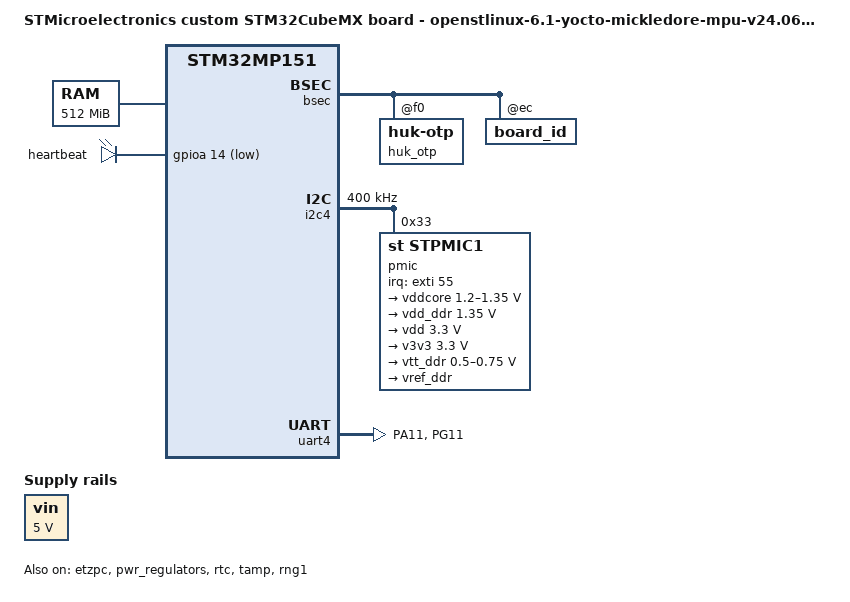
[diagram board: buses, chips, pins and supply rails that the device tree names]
// SPDX-License-Identifier: (GPL-2.0-or-later OR BSD-3-Clause)
/*
 * Copyright (C) 2024, STMicroelectronics - All Rights Reserved
 * Author: STM32CubeMX code generation for STMicroelectronics.
 */

/* For more information on Device Tree configuration, please refer to
 * https://wiki.st.com/stm32mpu/wiki/Category:Device_tree_configuration
 */

/dts-v1/;

#include <dt-bindings/pinctrl/stm32-pinfunc.h>
#include <dt-bindings/clock/stm32mp1-clksrc.h>
#include <dt-bindings/soc/stm32mp15-etzpc.h>
#include "stm32mp151.dtsi"
#include "stm32mp15xa.dtsi"
#include "stm32mp15xxac-pinctrl.dtsi"

/* USER CODE BEGIN includes */
/*#include <dt-bindings/mfd/st,stpmic1.h>
#include <dt-bindings/power/stm32mp1-power.h>*/
#include "stm32mp15-pinctrl.dtsi"
#include <dt-bindings/gpio/stm32mp_gpio.h>
#include <dt-bindings/power/stm32mp1-power.h>
#include <dt-bindings/mfd/st,stpmic1.h>
#include <dt-bindings/soc/stm32mp-provisioning.h>
#include <dt-bindings/tamper/st,stm32-tamp.h>
/* USER CODE END includes */

/*OPTEE*/

/ {
	model = "STMicroelectronics custom STM32CubeMX board - openstlinux-6.1-yocto-mickledore-mpu-v24.06.26";
	compatible = "st,stm32mp151a-ap31085500a-mx", "st,stm32mp151";

	memory@c0000000 {
		device_type = "memory";
		reg = <0xc0000000 0x20000000>;

		/* USER CODE BEGIN memory */
		/* USER CODE END memory */
	};
	
	ddr: memory-controller@5a003000 {
    	compatible = "st,stm32mp1-ddr";
    	reg = <0x5a003000 0x400>;
	};

	reserved-memory {
		#address-cells = <1>;
		#size-cells = <1>;
		ranges;
		
		

		/* USER CODE BEGIN reserved-memory */
		mcusram1:mcuram@10000000{
			compatible = "shared-dma-pool";
			reg = <0x10000000 0x20000>;
			no-map;
		};

		mcusram2:mcuram@10020000{
			compatible = "shared-dma-pool";
			reg = <0x10020000 0x20000>;
			no-map;
		};

		mcusram3:mcuram@10040000{
			compatible = "shared-dma-pool";
			reg = <0x10040000 0x10000>;
			no-map;
		};

		retram:retram@38000000{
			compatible = "shared-dma-pool";
			reg = <0x38000000 0x10000>;
			no-map;
		};
		
  	optee_core@de000000 {
  		reg = <0xde000000 0x02000000>;   // 32 MB secure DDR
  		no-map;
  	};
  
  	optee_shm@dfc00000 {
  		reg = <0xdfc00000 0x00400000>;   // 4 MB SHM (o 2 MB)
  		no-map;
  	};

		/* USER CODE END reserved-memory */
	};

	/* USER CODE BEGIN root */
	aliases {
		serial0 = &uart4;
	};

	chosen {
		stdout-path = "serial0:115200n8";
	};
	
	vin: vin {
		compatible = "regulator-fixed";
		regulator-name = "vin";
		regulator-min-microvolt = <5000000>;
		regulator-max-microvolt = <5000000>;
		regulator-always-on;
	};
	
	led {
		compatible = "gpio-leds";
		led-blue {
			label = "heartbeat";
			gpios = <&gpioa 14 GPIO_ACTIVE_LOW>;
			linux,default-trigger = "heartbeat";
			default-state = "off";
		};
	};
	
	shadow-prov{
		compatible = "st,provisioning";

		hw2_prov{
			nvmem-cells = <&hw2_otp>;
			st,shadow-value = <0x000001E0>;
			st,shadow-lock = <STICKY_LOCK_SR>;
		};
	};
	/* USER CODE END root */

	clocks {
		/* USER CODE BEGIN clocks */
		/* USER CODE END clocks */

		clk_hsi: clk-hsi {
			clock-frequency = <64000000>;

			/* USER CODE BEGIN clk_hsi */
			/* USER CODE END clk_hsi */
		};
		clk_lse: clk-lse {
			clock-frequency = <32768>;
			st,drive = < LSEDRV_MEDIUM_HIGH >;

			/* USER CODE BEGIN clk_lse */
			/* USER CODE END clk_lse */
		};
		clk_hse: clk-hse {
			clock-frequency = <24000000>;
			st,digbypass;

			/* USER CODE BEGIN clk_hse */
			/* USER CODE END clk_hse */
		};
	};

}; /*root*/

/*Warning: the configuration of the secured GPIOs should be added in (addons) User Section*/
&pinctrl {
	i2c4_pins_mx: i2c4_mx-0 {
		pins {
			pinmux = <STM32_PINMUX('F', 14, AF4)>, /* I2C4_SCL */
					 <STM32_PINMUX('F', 15, AF4)>; /* I2C4_SDA */
			bias-disable;
			drive-open-drain;
			slew-rate = <0>;
		};
	};

	rcc_pins_mx: rcc_mx-0 {
		pins {
			pinmux = <STM32_PINMUX('C', 14, ANALOG)>, /* RCC_OSC32_IN */
					 <STM32_PINMUX('C', 15, ANALOG)>, /* RCC_OSC32_OUT */
					 <STM32_PINMUX('H', 0, ANALOG)>, /* RCC_OSC_IN */
					 <STM32_PINMUX('H', 1, ANALOG)>; /* RCC_OSC_OUT */
		};
	};

	/* USER CODE BEGIN pinctrl */
	uart4_pins_mx: uart4_mx-0 {
		pins1 {
			pinmux = <STM32_PINMUX('A', 11, AF6)>; /* UART4_RX */
			bias-pull-up;
		};
		pins2 {
			pinmux = <STM32_PINMUX('G', 11, AF6)>; /* UART4_TX */
			bias-pull-up;
			drive-push-pull;
			slew-rate = <0>;
		};
	};
	/* USER CODE END pinctrl */
};

&pinctrl_z {
	/* USER CODE BEGIN pinctrl_z */
	/* USER CODE END pinctrl_z */
};

&bsec{
	status = "okay";

	/* USER CODE BEGIN bsec */
	huk_otp: huk-otp@f0 {
		reg = <0xf0 0x10>;
	};
	
	board_id:board_id@ec{
		reg = <0xec 0x4>;
		st,non-secure-otp;
	};
	/* USER CODE END bsec */
};

&etzpc{
	status = "okay";
	st,decprot = <
	/* USER CODE BEGIN etzpc_decprot */
	/*STM32CubeMX generates a basic and standard configuration for ETZPC.
	Additional device configurations can be added here if needed.
	"etzpc" node could be also overloaded in "addons" User-Section.*/
	/*"NS_R S_W" peripherals*/
	/*DECPROT(STM32MP1_ETZPC_DDRCTRL_ID, DECPROT_NS_R_S_W, DECPROT_LOCK)*/
	/*DECPROT(STM32MP1_ETZPC_DDRPHYC_ID, DECPROT_NS_R_S_W, DECPROT_LOCK)*/
	/*"Non Secured" peripherals*/
	DECPROT(STM32MP1_ETZPC_DMA1_ID, DECPROT_NS_RW, DECPROT_UNLOCK)
	DECPROT(STM32MP1_ETZPC_DMAMUX_ID, DECPROT_NS_RW, DECPROT_UNLOCK)
	DECPROT(STM32MP1_ETZPC_ETH_ID, DECPROT_NS_RW, DECPROT_UNLOCK)
	DECPROT(STM32MP1_ETZPC_CEC_ID, DECPROT_NS_RW, DECPROT_UNLOCK)
	DECPROT(STM32MP1_ETZPC_I2C1_ID, DECPROT_NS_RW, DECPROT_UNLOCK)
	DECPROT(STM32MP1_ETZPC_I2C4_ID, DECPROT_NS_RW, DECPROT_UNLOCK)
	DECPROT(STM32MP1_ETZPC_SPI2_ID, DECPROT_NS_RW, DECPROT_UNLOCK)
	/*DECPROT(STM32MP1_ETZPC_RNG1_ID, DECPROT_NS_RW, DECPROT_UNLOCK)*/
	DECPROT(STM32MP1_ETZPC_UART4_ID, DECPROT_NS_RW, DECPROT_UNLOCK)
	DECPROT(STM32MP1_ETZPC_OTG_ID, DECPROT_NS_RW, DECPROT_UNLOCK)
	
	DECPROT(STM32MP1_ETZPC_USART1_ID, DECPROT_NS_RW, DECPROT_UNLOCK)
	DECPROT(STM32MP1_ETZPC_SPI6_ID, DECPROT_NS_RW, DECPROT_UNLOCK)
	DECPROT(STM32MP1_ETZPC_I2C6_ID, DECPROT_NS_RW, DECPROT_UNLOCK)
	DECPROT(STM32MP1_ETZPC_HASH1_ID, DECPROT_NS_RW, DECPROT_UNLOCK)

	/*"Secured" peripherals*/
	DECPROT(STM32MP1_ETZPC_DDRCTRL_ID, DECPROT_S_RW, DECPROT_LOCK)
	DECPROT(STM32MP1_ETZPC_DDRPHYC_ID, DECPROT_S_RW, DECPROT_LOCK)
	DECPROT(STM32MP1_ETZPC_STGENC_ID, DECPROT_S_RW, DECPROT_LOCK)
	DECPROT(STM32MP1_ETZPC_BKPSRAM_ID, DECPROT_S_RW, DECPROT_LOCK)
	DECPROT(STM32MP1_ETZPC_IWDG1_ID, DECPROT_S_RW, DECPROT_LOCK)
	DECPROT(STM32MP1_ETZPC_STGENC_ID, DECPROT_S_RW, DECPROT_UNLOCK)
	/*"Mcu Isolation" peripherals*/
	DECPROT(STM32MP1_ETZPC_DMA2_ID, DECPROT_MCU_ISOLATION, DECPROT_UNLOCK)

	/*Restriction: following IDs are not managed  - please to use User-Section if needed:
	STM32MP1_ETZPC_SRAMx_ID  STM32MP1_ETZPC_RETRAM_ID  STM32MP1_ETZPC_BKPSRAM_ID*/


	DECPROT(STM32MP1_ETZPC_RNG1_ID, DECPROT_S_RW, DECPROT_UNLOCK)
	/* USER CODE END etzpc_decprot */
	>;

	/* USER CODE BEGIN etzpc */
	/* USER CODE END etzpc */
};

&i2c4{
	pinctrl-names = "default";
	pinctrl-0 = <&i2c4_pins_a>;
	status = "okay";

	/* USER CODE BEGIN i2c4 */
	compatible = "st,stm32mp15-i2c-non-secure";
	i2c-scl-rising-time-ns = <185>;
	i2c-scl-falling-time-ns = <20>;
	clock-frequency = <400000>;
	/delete-property/dmas;
	/delete-property/dma-names;

	pmic: stpmic@33 {
	compatible = "st,stpmic1";
	reg = <0x33>;
	/* interrupts-extended = <&exti_pwr 55 IRQ_TYPE_EDGE_FALLING>;*/
	interrupts-extended = <&exti 55 IRQ_TYPE_EDGE_FALLING>;
	interrupt-controller;
	#interrupt-cells = <2>;
	status = "okay";

		regulators {
			compatible = "st,stpmic1-regulators";
			
			buck1-supply = <&vin>;
			buck2-supply = <&vin>;
			buck3-supply = <&vin>;
			buck4-supply = <&vin>;
			ldo2-supply  = <&vin>;
			ldo3-supply  = <&vdd>;         /* VTT_DDR must be fed from BUCK3 */
			ldo4-supply  = <&vin>;
			ldo5-supply  = <&vin>;
			ldo6-supply  = <&v3v3>;
			vref_ddr-supply = <&vdd_ddr>;  /* VREF must follow VDD_DDR */

			vddcore: buck1 {
				regulator-name = "vddcore";
				regulator-min-microvolt = <1200000>;
				regulator-max-microvolt = <1350000>;
				regulator-always-on;
				regulator-initial-mode = <0>;
				regulator-over-current-protection;

				lp-stop {
					regulator-on-in-suspend;
				};
			};

			vdd_ddr: buck2 {
				regulator-name = "vdd_ddr";
				regulator-min-microvolt = <1350000>;
				regulator-max-microvolt = <1350000>;
				regulator-always-on;
				regulator-initial-mode = <0>;
				regulator-over-current-protection;

				lp-stop {
					regulator-on-in-suspend;
				};
			};

			vdd: buck3 {
				regulator-name = "vdd";
				regulator-min-microvolt = <3300000>;
				regulator-max-microvolt = <3300000>;
				regulator-always-on;
				st,mask-reset;
				regulator-initial-mode = <0>;
				regulator-over-current-protection;
				lp-stop {
					regulator-on-in-suspend;
				};
			};

			v3v3: buck4 {
				regulator-name = "v3v3";
				regulator-min-microvolt = <3300000>;
				regulator-max-microvolt = <3300000>;
				regulator-always-on;
				regulator-over-current-protection;
				regulator-initial-mode = <0>;

				lp-stop {
					regulator-on-in-suspend;
				};
			};

			/*
			v1v8_audio: ldo1 {
				regulator-name = "v1v8_audio";
				regulator-min-microvolt = <1800000>;
				regulator-max-microvolt = <1800000>;
				regulator-always-on;
				interrupts = <IT_CURLIM_LDO1 0>;
			};
			*/

			vtt_ddr: ldo3 {
				regulator-name = "vtt_ddr";
				regulator-always-on;
				st,regulator-sink-source;
				regulator-min-microvolt = <500000>;
				regulator-max-microvolt = <750000>;
				
				/* nessuna gestione di suspend: resta sempre on */
			};

			vref_ddr: vref_ddr {
				regulator-name = "vref_ddr";
				regulator-always-on;

				lp-stop {
					regulator-on-in-suspend;
				};
			};

			/*
			bst_out: boost {
				regulator-name = "bst_out";
				interrupts = <IT_OCP_BOOST 0>;
			};

			vbus_otg: pwr_sw1 {
				regulator-name = "vbus_otg";
				interrupts = <IT_OCP_OTG 0>;
			};

			vbus_sw: pwr_sw2 {
				regulator-name = "vbus_sw";
				interrupts = <IT_OCP_SWOUT 0>;
				regulator-active-discharge = <1>;
			};
			*/
		};
	};
	
	/* USER CODE END i2c4 */
};

&pwr_regulators {
	status = "okay";

	system_suspend_supported_soc_modes = <
		STM32_PM_CSLEEP_RUN
	>;
	/* opzionale, puoi anche omettere del tutto questa proprietà */

	vdd-supply = <&vdd>;
};

&rcc{
	pinctrl-names = "default";
	pinctrl-0 = <&rcc_pins_mx>;
	status = "okay";

	/* USER CODE BEGIN rcc */
	/* CLK_CKPER_DISABLED -> CLK_CKPER_HSE*/
	/* USER CODE END rcc */

	st,clksrc = <
		CLK_CKPER_HSE
		CLK_ETH_PLL4P
		CLK_SDMMC12_PLL4P
		CLK_STGEN_HSE
		CLK_SPI2S23_PLL3Q
		CLK_I2C46_HSI
		CLK_USBO_USBPHY
		CLK_CEC_LSE
		CLK_I2C12_HSI
		CLK_UART24_HSI
		CLK_RNG1_CSI
		CLK_MPU_PLL1P
		CLK_AXI_PLL2P
		CLK_MCU_PLL3P
		CLK_RTC_LSE
		CLK_MCO1_DISABLED
		CLK_MCO2_DISABLED
	>;
	st,clkdiv = <
		DIV(DIV_MPU, 1)
		DIV(DIV_AXI, 0)
		DIV(DIV_MCU, 0)
		DIV(DIV_APB1, 1)
		DIV(DIV_APB2, 1)
		DIV(DIV_APB3, 1)
		DIV(DIV_APB4, 1)
		DIV(DIV_APB5, 2)
		DIV(DIV_RTC, 0)
		DIV(DIV_MCO1, 0)
		DIV(DIV_MCO2, 0)
	>;
	st,pll_vco {
		pll1_vco_1300Mhz: pll1-vco-1300Mhz {
			src = < CLK_PLL12_HSE >;
			divmn = < 2 80 >;
			frac = < 0x800 >;
		};
		pll2_vco_1066Mhz: pll2-vco-1066Mhz {
			src = < CLK_PLL12_HSE >;
			divmn = < 2 65 >;
			frac = < 0x1400 >;
		};
		pll3_vco_417Mhz: pll3-vco-417Mhz {
			src = < CLK_PLL3_HSE >;
			divmn = < 1 33 >;
			frac = < 0x1a04 >;
		};
		pll4_vco_594Mhz: pll4-vco-594Mhz {
			src = < CLK_PLL4_HSE >;
			divmn = < 3 98 >;
		};
		/* USER CODE BEGIN rcc_st-pll_vco */
		/* USER CODE END rcc_st-pll_vco */
	};

	pll1:st,pll@0 {
		compatible = "st,stm32mp1-pll";
		reg = <0>;

		st,pll = < &pll1_cfg1 >;

		pll1_cfg1: pll1_cfg1 {
			st,pll_vco = < &pll1_vco_1300Mhz >;
			st,pll_div_pqr = < 0 1 1 >;
		};
		/* USER CODE BEGIN pll1 */
		/* USER CODE END pll1 */
	};

	pll2:st,pll@1 {
		compatible = "st,stm32mp1-pll";
		reg = <1>;

		st,pll = < &pll2_cfg1 >;

		pll2_cfg1: pll2_cfg1 {
			st,pll_vco = < &pll2_vco_1066Mhz >;
			st,pll_div_pqr = < 1 1 0 >;
		};
		/* USER CODE BEGIN pll2 */
		/* USER CODE END pll2 */
	};

	pll3:st,pll@2 {
		compatible = "st,stm32mp1-pll";
		reg = <2>;

		st,pll = < &pll3_cfg1 >;

		pll3_cfg1: pll3_cfg1 {
			st,pll_vco = < &pll3_vco_417Mhz >;
			st,pll_div_pqr = < 1 16 36 >;
		};
		/* USER CODE BEGIN pll3 */
		/* USER CODE END pll3 */
	};

	pll4:st,pll@3 {
		compatible = "st,stm32mp1-pll";
		reg = <3>;

		st,pll = < &pll4_cfg1 >;

		pll4_cfg1: pll4_cfg1 {
			st,pll_vco = < &pll4_vco_594Mhz >;
			st,pll_div_pqr = < 59 7 7 >;
		};
		/* USER CODE BEGIN pll4 */
		/* USER CODE END pll4 */
	};

	/* USER CODE BEGIN rcc */
	/* CLK_CKPER_DISABLED -> CLK_CKPER_HSE*/
	/* USER CODE END rcc */
};

&rtc{
	status = "okay";

	/* USER CODE BEGIN rtc */
	/* USER CODE END rtc */
};

&tamp{
	status = "okay";

	/* USER CODE BEGIN tamp */
	st,tamp-passive-nb-sample = <4>;
	st,tamp-passive-sample-clk-div = <16384>;
	/* USER CODE END tamp */
};

/* USER CODE BEGIN addons */
&clk_hse {
	st,digbypass;
};

&cpu0 {
	cpu-frequency = <650000000>;
	cpu-supply = <&vddcore>;
};

&uart4 {
	pinctrl-names = "default";
	pinctrl-0 = <&uart4_pins_mx>;
	/delete-property/dmas;
	/delete-property/dma-names;
	/*reg = <0x40010000 0x400>;*/
	status = "okay";
};

/*
&osc_calibration{

	csi-calibration{
		status = "okay";
	};

	hsi-calibration{
		status = "okay";
	};
};*/

&rng1 {
        status = "okay";
        secure-status = "okay";
};

/* USER CODE END addons */

